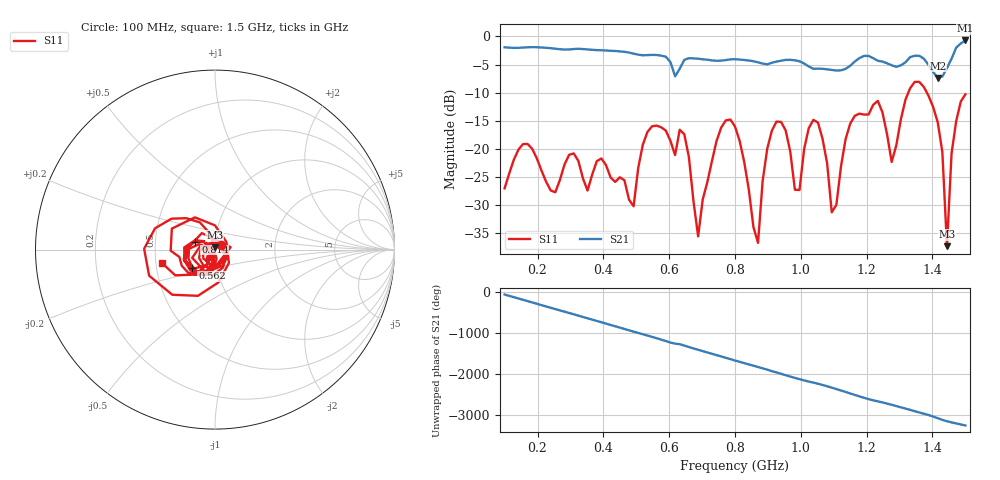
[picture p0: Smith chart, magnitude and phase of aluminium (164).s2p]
! NanoVNA-App
! Date: 2025-09-25 14:56:33
! Start: 100MHz Stop: 1,5GHz Points: 101
! S-Parameter data: F S11 S21 S12 S22
# Hz S RI R 50
!  Frequency  S11_Real  S11_Imag  S21_Real  S21_Imag  S12_Real  S12_Imag  S22_Real  S22_Imag
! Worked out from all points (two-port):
!   101 points, 100 MHz to 1.5 GHz, reference 50 ohm
!   highest |S21| = -0.71 dB at 1.5 GHz (marker M1); lowest = -7.4 dB at 1.416 GHz (marker M2)
!   |S21| within 3 dB of the highest: start of sweep to 591.5 MHz; 1.331 GHz to 1.367 GHz (35.95 MHz wide, 2.66 % of centre) (the widest 2 of 4)
!   lowest |S11| = -37.3 dB at 1.444 GHz (marker M3), VSWR 1.03, Z = 49.8 + j1.36 ohm
!   |S11| at or under -10 dB: start of sweep to 1.327 GHz; 1.383 GHz to end of sweep
!   S12 and S22 are empty: the file has one direction only
!   S11 on the Smith chart (normalised r, x): 100 MHz: 1.07, +0.06; 562 MHz: 0.76, -0.16; 814 MHz: 0.80, +0.07; 1.5 GHz: 0.54, -0.09
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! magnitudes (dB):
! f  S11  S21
! 100 MHz  -27.0  -1.9
! 338 MHz  -25.2  -2.2
! 492 MHz  -30.2  -3.1
! 562 MHz  -15.8  -3.3
! 576 MHz  -16.2  -3.4
! 646 MHz  -17.4  -4.2
! 688 MHz  -35.5  -3.9
! 800 MHz  -16.0  -4.0
! 814 MHz  -18.5  -4.1
! 870 MHz  -36.7  -4.6
! 912 MHz  -16.7  -4.7
! 996 MHz  -27.3  -4.4
! 1.038 GHz  -14.8  -5.7
! 1.094 GHz  -31.3  -6.0
! 1.164 GHz  -14.1  -4.5
! 1.234 GHz  -11.5  -4.3
! 1.276 GHz  -22.3  -5.1
! 1.346 GHz  -8.1  -3.4
! 1.416 GHz  -15.3  -7.4
! 1.444 GHz  -37.3  -5.6
! 1.458 GHz  -20.8  -4.0
! 1.5 GHz  -10.3  -0.7
